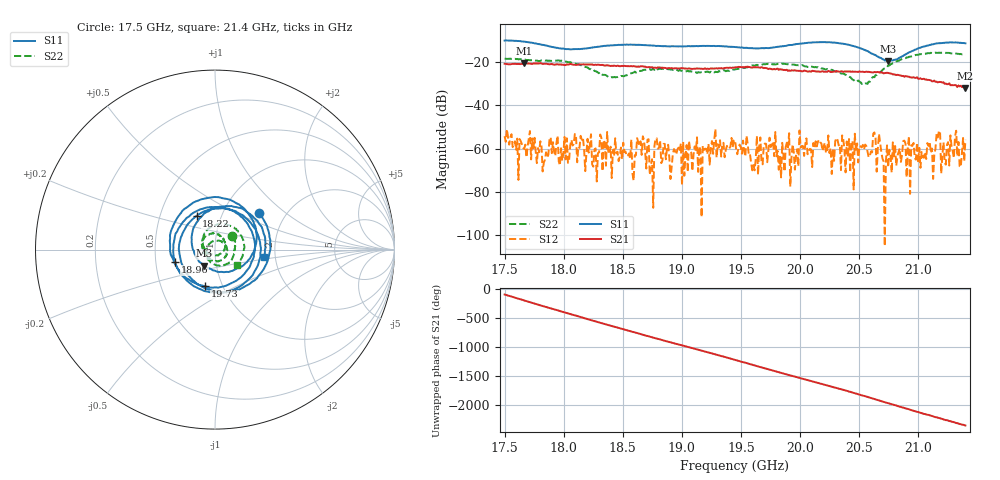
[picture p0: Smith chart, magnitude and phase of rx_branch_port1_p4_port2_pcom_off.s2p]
!Created with skrf (http://scikit-rf.org).
# GHz S RI R 50.0
!freq ReS11 ImS11 ReS21 ImS21 ReS12 ImS12 ReS22 ImS22
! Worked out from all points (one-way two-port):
!   401 points, 17.5 GHz to 21.4 GHz, reference 50 ohm
!   highest |S21| = -20.42 dB at 17.67 GHz (marker M1); lowest = -31.9 dB at 21.4 GHz (marker M2)
!   lowest |S11| = -19.4 dB at 20.75 GHz (marker M3), VSWR 1.24, Z = 43.8 - j7.93 ohm
!   |S11| at or under -10 dB: 17.56 GHz to end of sweep
!   |S22| runs from -30.3 to -15.6 dB; largest |S21 - S12| = 0.095
!   S11 on the Smith chart (normalised r, x): 17.5 GHz: 1.47, +0.66; 18.22 GHz: 0.76, +0.30; 18.96 GHz: 0.63, -0.09; 19.73 GHz: 0.83, -0.35; 21.4 GHz: 1.73, -0.16
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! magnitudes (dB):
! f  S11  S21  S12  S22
! 17.5 GHz  -10.0  -20.7  -54.2  -18.4
! 17.67 GHz  -10.5  -20.4  -60.1  -18.9
! 17.84 GHz  -12.2  -20.7  -65.2  -19.3
! 17.89 GHz  -12.8  -20.9  -54.8  -19.4
! 18.15 GHz  -13.9  -21.1  -55.9  -21.7
! 18.22 GHz  -13.4  -21.1  -58.3  -23.2
! 18.26 GHz  -13.1  -21.2  -60.4  -24.0
! 18.33 GHz  -12.6  -21.2  -70.5  -25.9
! 18.58 GHz  -11.9  -21.9  -71.5  -25.0
! 18.66 GHz  -12.1  -21.9  -62.9  -24.0
! 18.75 GHz  -12.3  -22.3  -64.9  -23.4
! 18.81 GHz  -12.5  -22.5  -59.6  -22.9
! 18.96 GHz  -12.7  -22.9  -60.4  -23.6
! 19.45 GHz  -13.0  -22.4  -56.0  -23.3
! 19.61 GHz  -13.6  -22.3  -67.6  -21.5
! 19.73 GHz  -13.5  -23.2  -60.7  -20.6
! 19.82 GHz  -12.8  -23.5  -69.8  -20.7
! 20.1 GHz  -10.9  -24.0  -68.5  -22.0
! 20.55 GHz  -14.4  -24.5  -58.1  -29.9
! 20.75 GHz  -19.4  -25.0  -68.6  -21.5
! 20.76 GHz  -19.4  -25.1  -60.5  -21.5
! 21.4 GHz  -11.2  -31.9  -55.9  -16.5
